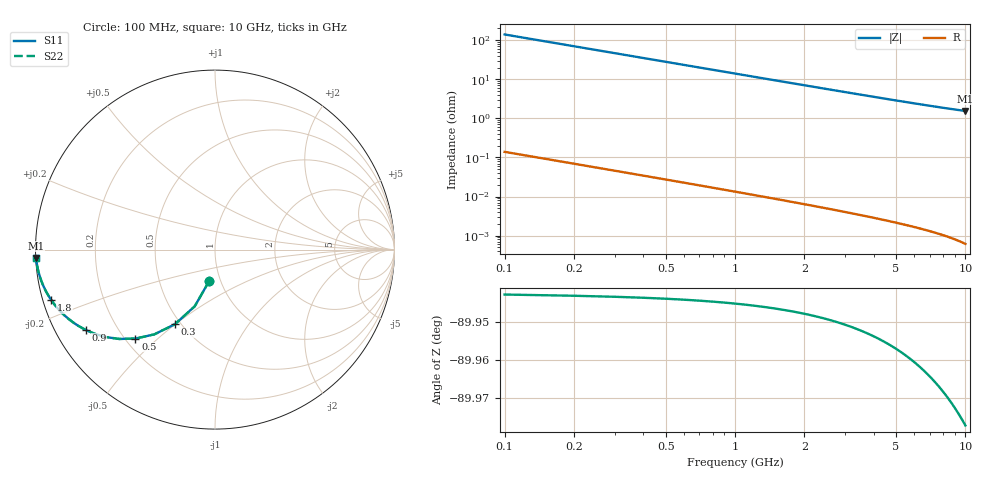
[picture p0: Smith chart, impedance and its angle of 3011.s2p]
# Hz S RI R 50.00
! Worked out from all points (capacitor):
!   100 points, 100 MHz to 10 GHz, reference 50 ohm
!   read as one part in shunt: C = 11.4 pF near 100 MHz
!   lowest |Z| = 1.55 ohm at 10 GHz (marker M1)
!   S11 on the Smith chart (normalised r, x): 100 MHz: 0.89, -0.32; 300 MHz: 0.47, -0.50; 500 MHz: 0.24, -0.43; 900 MHz: 0.09, -0.28; 1.8 GHz: 0.02, -0.15; 10 GHz: 0.00, -0.02
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1e8  -0.031 -0.1729  0.9689 -0.173  0.9689 -0.173  -0.031 -0.1729
2e8  -0.1133 -0.3164  0.8866 -0.3167  0.8866 -0.3167  -0.1133 -0.3164
3e8  -0.2231 -0.4157  0.7768 -0.4161  0.7768 -0.4161  -0.2231 -0.4157
4e8  -0.3379 -0.4722  0.662 -0.4728  0.662 -0.4728  -0.3379 -0.4722
5e8  -0.4435 -0.4959  0.5564 -0.4967  0.5564 -0.4967  -0.4435 -0.4959
6e8  -0.5343 -0.4979  0.4656 -0.4988  0.4656 -0.4988  -0.5343 -0.4979
7e8  -0.6095 -0.4868  0.3904 -0.4879  0.3904 -0.4879  -0.6095 -0.4868
8e8  -0.6709 -0.4688  0.3291 -0.47  0.3291 -0.47  -0.6709 -0.4688
9e8  -0.7206 -0.4475  0.2793 -0.4488  0.2793 -0.4488  -0.7206 -0.4475
1.1e9  -0.7938 -0.4032  0.2061 -0.4048  0.2061 -0.4048  -0.7938 -0.4032
1.3e9  -0.8432 -0.3621  0.1568 -0.3641  0.1568 -0.3641  -0.8432 -0.3621
1.5e9  -0.8774 -0.3263  0.1226 -0.3286  0.1226 -0.3286  -0.8774 -0.3263
1.8e9  -0.9115 -0.2821  0.0884 -0.2848  0.0884 -0.2848  -0.9115 -0.2821
2.1e9  -0.9334 -0.2472  0.0665 -0.2503  0.0665 -0.2503  -0.9334 -0.2472
2.5e9  -0.952 -0.2112  0.0479 -0.2149  0.0479 -0.2149  -0.952 -0.2112
2.9e9  -0.9639 -0.1837  0.036 -0.188  0.036 -0.188  -0.9639 -0.1837
3.4e9  -0.9735 -0.1574  0.0264 -0.1625  0.0264 -0.1625  -0.9735 -0.1574
4.2e9  -0.9825 -0.1273  0.0174 -0.1336  0.0174 -0.1336  -0.9825 -0.1273
5.1e9  -0.9881 -0.1039  0.0118 -0.1116  0.0118 -0.1116  -0.9881 -0.1039
6.7e9  -0.9931 -0.0768  0.00678 -0.087  0.00678 -0.087  -0.9931 -0.0768
8.4e9  -0.9956 -0.0583  0.00421 -0.0713  0.00421 -0.0713  -0.9956 -0.0583
1e10  -0.9969 -0.0459  0.00287 -0.0617  0.00287 -0.0617  -0.9969 -0.0459
